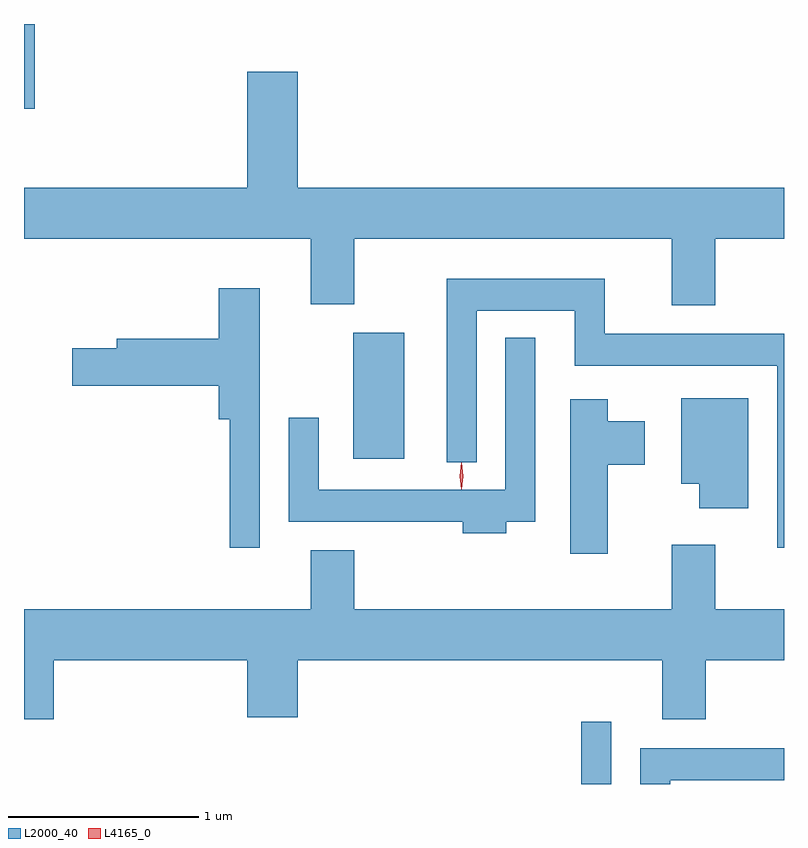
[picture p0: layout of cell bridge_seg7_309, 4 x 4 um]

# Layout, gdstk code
import gdstk
lib = gdstk.Library(unit=1e-6, precision=1e-09)
def R(c, l, rs):  # rectangles x0, y0, x1, y1
    for r in rs: c.add(gdstk.rectangle(r[:2], r[2:], *l))
def P(c, l, *ps):  # polygons
    for p in ps: c.add(gdstk.Polygon(p, *l))
L2000_40 = (2000, 40)
L4165_0 = (4165, 0)

bridge_seg7_309 = lib.new_cell('bridge_seg7_309')
R(bridge_seg7_309, L2000_40, [(1195.856,1755.845,1196.014,1756.173), (1194.656,1757.556,1194.924,1758.219), (1192.922,1759.398,1192.979,1759.845)])
P(bridge_seg7_309, L2000_40, [(1196.559,1758.716),(1196.922,1758.716),(1196.922,1758.984),(1194.364,1758.984),(1194.364,1759.594),(1194.096,1759.594),(1194.096,1758.984),(1192.922,1758.984),(1192.922,1758.716),(1194.431,1758.716),(1194.431,1758.371),(1194.659,1758.371),(1194.659,1758.716),(1196.331,1758.716),(1196.331,1758.366),(1196.559,1758.366)],
  [(1196.922,1758.214),(1195.979,1758.214),(1195.979,1758.504),(1195.146,1758.504),(1195.146,1757.538),(1195.304,1757.538),(1195.304,1758.336),(1195.821,1758.336),(1195.821,1758.046),(1196.886,1758.046),(1196.886,1757.088),(1196.922,1757.088)],
  [(1194.164,1758.454),(1193.946,1758.454),(1193.946,1758.189),(1193.411,1758.189),(1193.411,1758.139),(1193.176,1758.139),(1193.176,1757.941),(1193.946,1757.941),(1193.946,1757.766),(1194.006,1757.766),(1194.006,1757.088),(1194.164,1757.088)],
  [(1195.459,1757.226),(1195.614,1757.226),(1195.614,1758.193),(1195.456,1758.193),(1195.456,1757.394),(1194.474,1757.394),(1194.474,1757.773),(1194.316,1757.773),(1194.316,1757.226),(1195.231,1757.226),(1195.231,1757.166),(1195.459,1757.166)],
  [(1196.734,1757.874),(1196.381,1757.874),(1196.381,1757.426),(1196.476,1757.426),(1196.476,1757.296),(1196.734,1757.296)],
  [(1195.994,1757.526),(1196.189,1757.526),(1196.189,1757.754),(1195.994,1757.754),(1195.994,1757.869),(1195.796,1757.869),(1195.796,1757.056),(1195.994,1757.056)],
  [(1193.079,1756.496),(1194.096,1756.496),(1194.096,1756.196),(1194.364,1756.196),(1194.364,1756.496),(1196.281,1756.496),(1196.281,1756.186),(1196.509,1756.186),(1196.509,1756.496),(1196.922,1756.496),(1196.922,1756.764),(1196.559,1756.764),(1196.559,1757.104),(1196.331,1757.104),(1196.331,1756.764),(1194.659,1756.764),(1194.659,1757.074),(1194.431,1757.074),(1194.431,1756.764),(1192.922,1756.764),(1192.922,1756.186),(1193.079,1756.186)],
  [(1196.324,1755.866),(1196.922,1755.866),(1196.922,1756.034),(1196.166,1756.034),(1196.166,1755.845),(1196.324,1755.845)])
P(bridge_seg7_309, L4165_0, [(1195.224,1757.397),(1195.215,1757.466),(1195.224,1757.536),(1195.225,1757.536),(1195.225,1757.536),(1195.235,1757.466),(1195.225,1757.397),(1195.225,1757.397)])

lib.write_gds('bridge_seg7_309.gds')
